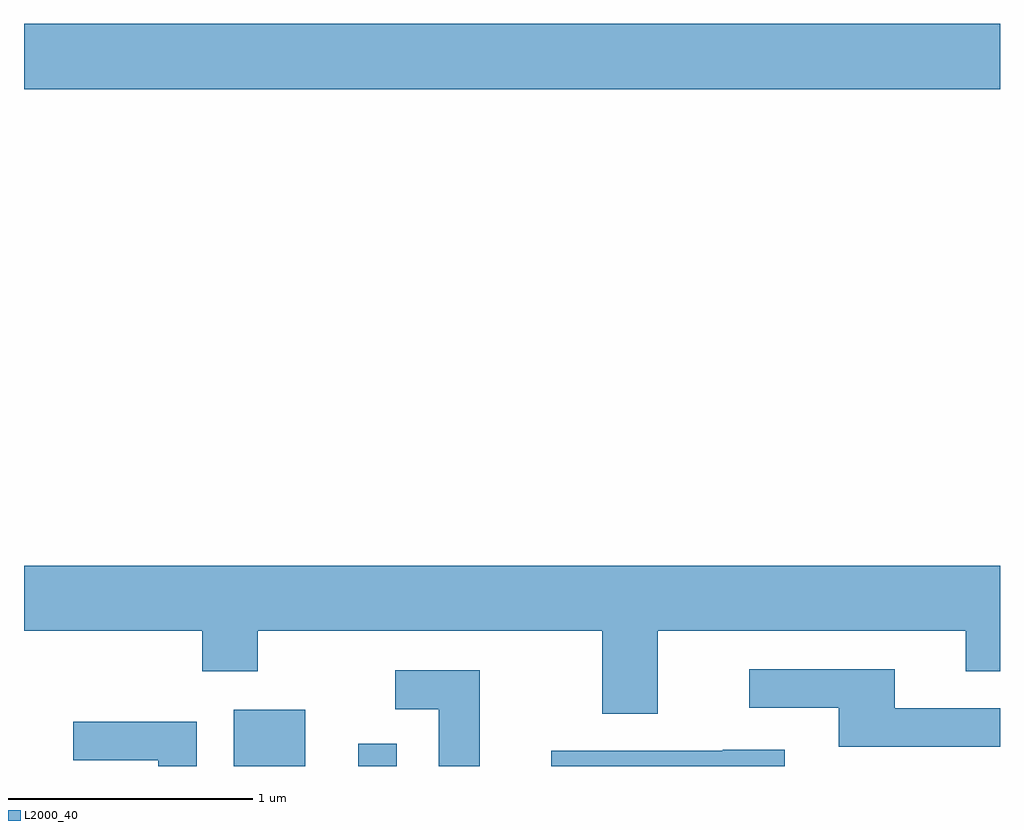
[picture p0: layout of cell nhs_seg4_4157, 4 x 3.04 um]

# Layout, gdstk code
import gdstk
lib = gdstk.Library(unit=1e-6, precision=1e-09)
def R(c, l, rs):  # rectangles x0, y0, x1, y1
    for r in rs: c.add(gdstk.rectangle(r[:2], r[2:], *l))
def P(c, l, *ps):  # polygons
    for p in ps: c.add(gdstk.Polygon(p, *l))
L2000_40 = (2000, 40)

nhs_seg4_4157 = lib.new_cell('nhs_seg4_4157')
R(nhs_seg4_4157, L2000_40, [(308.471,1271.982,308.764,1272.214), (308.981,1271.982,309.139,1272.073), (307.611,1274.756,311.611,1275.024)])
P(nhs_seg4_4157, L2000_40, [(310.209,1272.536),(311.471,1272.536),(311.471,1272.371),(311.611,1272.371),(311.611,1272.804),(307.611,1272.804),(307.611,1272.536),(308.341,1272.536),(308.341,1272.371),(308.569,1272.371),(308.569,1272.536),(309.981,1272.536),(309.981,1272.196),(310.209,1272.196)],
  [(311.611,1272.219),(311.179,1272.219),(311.179,1272.379),(310.583,1272.379),(310.583,1272.221),(310.951,1272.221),(310.951,1272.061),(311.611,1272.061)],
  [(309.479,1272.374),(309.133,1272.374),(309.133,1272.216),(309.311,1272.216),(309.311,1271.982),(309.479,1271.982)],
  [(308.319,1272.164),(307.813,1272.164),(307.813,1272.006),(308.161,1272.006),(308.161,1271.982),(308.319,1271.982)],
  [(310.729,1272.049),(310.475,1272.049),(310.475,1272.044),(309.771,1272.044),(309.771,1271.982),(310.729,1271.982)])

lib.write_gds('nhs_seg4_4157.gds')
